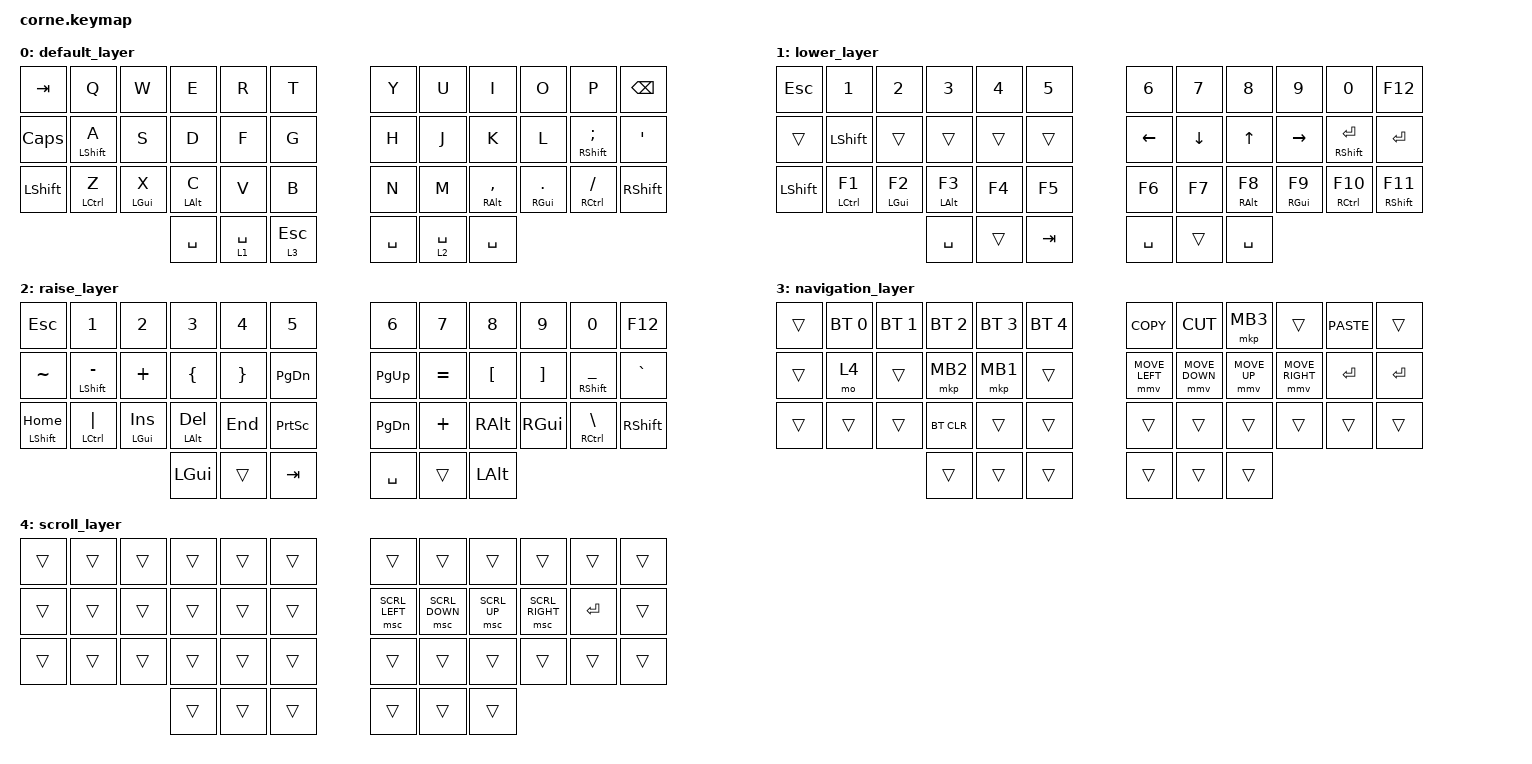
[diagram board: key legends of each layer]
/*
 * Copyright (c) 2020 The ZMK Contributors
 *
 * SPDX-License-Identifier: MIT
 */

#include <behaviors.dtsi>
#include <dt-bindings/zmk/keys.h>
#include <dt-bindings/zmk/bt.h>
#include <dt-bindings/zmk/pointing.h>

#define ZMK_POINTING_DEFAULT_MOVE_VAL 800
#define ZMK_POINTING_DEFAULT_SCRL_VAL 30

&mmv {
    time-to-max-speed-ms = <100>;
};

&msc {
   time-to-max-speed-ms = <1>;
};

&mt {
    flavor = "balanced";
    tapping-term-ms = <170>;
};

&lt {
    tapping-term-ms = <170>;
};

/ {
        keymap {
                compatible = "zmk,keymap";

                default_layer {
// -----------------------------------------------------------------------------------------
// |  TAB |  Q  |  W  |  E  |  R  |  T  |   |  Y  |  U   |  I  |  O  |  P  | BSPC |
// | CTRL |  A  |  S  |  D  |  F  |  G  |   |  H  |  J   |  K  |  L  |  ;  |  '   |
// | SHFT |  Z  |  X  |  C  |  V  |  B  |   |  N  |  M   |  ,  |  .  |  /  | ESC  |
//                    | GUI | LWR | SPC |   | ENT | RSE  | ALT |
                        bindings = <
   &kp TAB   &kp Q       &kp W       &kp E       &kp R &kp T         &kp Y &kp U  &kp I          &kp O        &kp P          &kp BSPC
   &kp CAPS  &mt LSHFT A &kp S       &kp D       &kp F &kp G         &kp H &kp J  &kp K          &kp L        &mt RSHFT SEMI &kp SQT
   &kp LSHFT &mt LCTRL Z &mt LGUI X  &mt LALT C  &kp V &kp B         &kp N &kp M  &mt RALT COMMA &mt RGUI DOT &mt RCTRL FSLH &kp RSHFT
                             &kp SPACE &lt 1 SPACE &lt 3 ESC         &kp SPACE &lt 2 SPACE &kp SPACE
                        >;
                };

                lower_layer {
// -----------------------------------------------------------------------------------------
// |  TAB |  1  |  2  |  3  |  4  |  5  |   |  6  |  7  |  8  |  9  |  0  | BSPC |
// | BTCLR| BT1 | BT2 | BT3 | BT4 | BT5 |   | LFT | DWN |  UP | RGT |     |      |
// | SHFT |     |     |     |     |     |   |     |     |     |     |     |      |
//                    | GUI |     | SPC |   | ENT |     | ALT |
                        bindings = <
   &kp ESC    &kp N1        &kp N2       &kp N3       &kp N4  &kp N5           &kp N6   &kp N7   &kp N8      &kp N9       &kp N0         &kp F12
   &trans     &kp LSHFT     &trans       &trans       &trans  &trans           &kp LEFT &kp DOWN &kp UP      &kp RIGHT    &mt RSHFT RET  &kp RET
   &kp LSHFT  &mt LCTRL F1  &mt LGUI F2  &mt LALT F3  &kp F4  &kp F5           &kp F6   &kp F7   &mt RALT F8 &mt RGUI F9  &mt RCTRL F10  &mt RSHFT F11
                                 &kp SPACE      &trans       &kp TAB           &kp SPACE  &trans   &kp SPACE
                        >;
                };

                raise_layer {
// -----------------------------------------------------------------------------------------
// |  TAB |  !  |  @  |  #  |  $  |  %  |   |  ^  |  &  |  *  |  (  |  )  | BSPC |
// | CTRL |     |     |     |     |     |   |  -  |  =  |  [  |  ]  |  \  |  `   |
// | SHFT |     |     |     |     |     |   |  _  |  +  |  {  |  }  | "|" |  ~   |
//                    | GUI |     | SPC |   | ENT |     | ALT |
                        bindings = <
   &kp ESC        &kp N1           &kp N2        &kp N3       &kp N4     &kp N5             &kp N6    &kp N7    &kp N8    &kp N9   &kp N0          &kp F12
   &kp TILDE      &mt LSHFT MINUS  &kp PLUS      &kp LBRC     &kp RBRC   &kp PG_DN          &kp PG_UP &kp EQUAL &kp LBKT  &kp RBKT &mt RSHFT UNDER &kp GRAVE
   &mt LSHFT HOME &mt LCTRL PIPE   &mt LGUI INS  &mt LALT DEL &kp END    &kp PSCRN          &kp PG_DN &kp PLUS  &kp RALT  &kp RGUI &mt RCTRL BSLH  &kp RSHFT
                                                 &kp LGUI   &trans   &kp TAB                     &kp SPACE   &trans   &kp LALT
                        >;
                };

                navigation_layer {
// -----------------------------------------------------------------------------------------
// |  TAB |  !  |  @  |  #  |  $  |  %  |   |  ^  |  &  |  *  |  (  |  )  | BSPC |
// | CTRL |     |     |     |     |     |   |  -  |  =  |  [  |  ]  |  \  |  `   |
// | SHFT |     |     |     |     |     |   |  _  |  +  |  {  |  }  | "|" |  ~   |
//                    | GUI |     | SPC |   | ENT |     | ALT |
                        bindings = <
   &trans  &bt BT_SEL 0  &bt BT_SEL 1  &bt BT_SEL 2   &bt BT_SEL 3   &bt BT_SEL 4           &kp K_COPY       &kp K_CUT       &mkp MB3      &trans            &kp K_PASTE  &trans
   &trans  &mo 4         &trans        &mkp MB2       &mkp  MB1      &trans                 &mmv MOVE_LEFT   &mmv MOVE_DOWN  &mmv MOVE_UP  &mmv MOVE_RIGHT   &kp RET      &kp RET
   &trans  &trans        &trans        &bt BT_CLR     &trans         &trans                 &trans           &trans          &trans        &trans   &trans   &trans
                                                   &trans   &trans   &trans                 &trans   &trans   &trans
                        >;
                };

                scroll_layer {
// -----------------------------------------------------------------------------------------
// |  TAB |  !  |  @  |  #  |  $  |  %  |   |  ^  |  &  |  *  |  (  |  )  | BSPC |
// | CTRL |     |     |     |     |     |   |  -  |  =  |  [  |  ]  |  \  |  `   |
// | SHFT |     |     |     |     |     |   |  _  |  +  |  {  |  }  | "|" |  ~   |
//                    | GUI |     | SPC |   | ENT |     | ALT |
                        bindings = <
   &trans  &trans    &trans    &trans   &trans   &trans           &trans          &trans           &trans         &trans           &trans   &trans
   &trans  &trans    &trans    &trans   &trans   &trans           &msc SCRL_LEFT  &msc SCRL_DOWN   &msc SCRL_UP   &msc SCRL_RIGHT  &kp RET  &trans
   &trans  &trans    &trans    &trans   &trans   &trans           &trans          &trans           &trans         &trans           &trans   &trans
                           &trans   &trans   &trans                 &trans   &trans   &trans
                        >;
                };
        };
};
